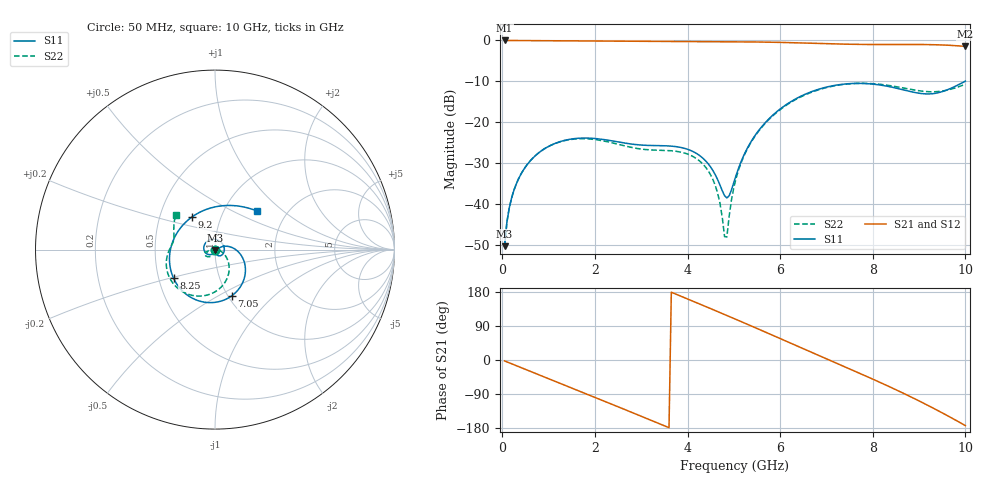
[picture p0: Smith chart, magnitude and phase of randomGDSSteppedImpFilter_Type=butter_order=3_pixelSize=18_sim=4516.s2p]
! freq	dB(S11)	phase(S11)	dB(S12)	phase(S12)
!  dB(S21)	phase(S21)	dB(S22)	phase(S22)
!S-par simulation data
#  GHz  S  DB  R 50
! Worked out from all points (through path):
!   200 points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, 50 MHz to 10 GHz, reference 50 ohm
!   highest |S21| = 0.00 dB at 50 MHz (marker M1); lowest = -1.5 dB at 10 GHz (marker M2)
!   group delay of S21, straight-line fit = 146 ps
!   lowest |S11| = -50.2 dB at 50 MHz (marker M3), VSWR 1.01, Z = 50 - j0.309 ohm
!   |S11| at or under -10 dB: start of sweep to 9.988 GHz
!   |S22| runs from -50.1 to -10.5 dB; largest |S21 - S12| = 0
!   S11 on the Smith chart (normalised r, x): 50 MHz: 1.00, -0.01; 7.05 GHz: 1.04, -0.58; 8.25 GHz: 0.60, -0.21; 9.2 GHz: 0.73, +0.28; 10 GHz: 1.43, +0.68
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0.05  -50.19 -90.9  -0.00 -2.5  -0.00 -2.5  -50.09 -89.4
0.1  -44.29 -94.1  -0.01 -5.0  -0.01 -5.0  -44.25 -91.6
0.2  -38.48 -100.8  -0.02 -9.9  -0.02 -9.9  -38.45 -96.4
0.5  -30.87 -120.5  -0.04 -24.7  -0.04 -24.7  -30.84 -109.6
1.15  -25.07 -162.0  -0.08 -56.7  -0.08 -56.7  -25.10 -134.3
1.75  -23.81 156.7  -0.12 -86.3  -0.12 -86.3  -23.97 -153.0
2.5  -24.76 94.1  -0.16 -123.5  -0.16 -123.5  -25.33 -165.2
3.4  -25.67 4.5  -0.22 -168.5  -0.22 -168.5  -26.78 -160.4
4.4  -29.49 -66.8  -0.29 140.7  -0.29 140.7  -31.07 -179.9
4.65  -33.96 -67.6  -0.30 127.8  -0.30 127.8  -37.25 164.4
4.8  -37.89 -44.0  -0.31 120.0  -0.31 120.0  -47.86 114.3
4.85  -38.43 -27.3  -0.32 117.4  -0.32 117.4  -47.93 51.2
4.95  -36.41 4.4  -0.32 112.2  -0.32 112.2  -38.80 4.8
5.05  -32.86 18.8  -0.33 107.0  -0.33 107.0  -33.56 -7.1
5.65  -20.41 7.0  -0.40 75.3  -0.40 75.3  -20.56 -40.1
6.7  -12.40 -50.0  -0.69 19.2  -0.69 19.2  -12.54 -90.3
7.05  -11.25 -70.0  -0.81 0.5  -0.81 0.5  -11.36 -106.8
7.65  -10.47 -105.5  -0.96 -31.5  -0.96 -31.5  -10.48 -134.4
8.25  -11.04 -145.4  -1.00 -64.3  -1.00 -64.3  -10.82 -160.1
8.35  -11.25 -152.9  -0.99 -69.9  -0.99 -69.9  -10.98 -164.1
9.2  -13.05 125.2  -1.01 -120.4  -1.01 -120.4  -12.50 169.4
10  -9.93 42.2  -1.46 -173.1  -1.46 -173.1  -10.69 138.3
